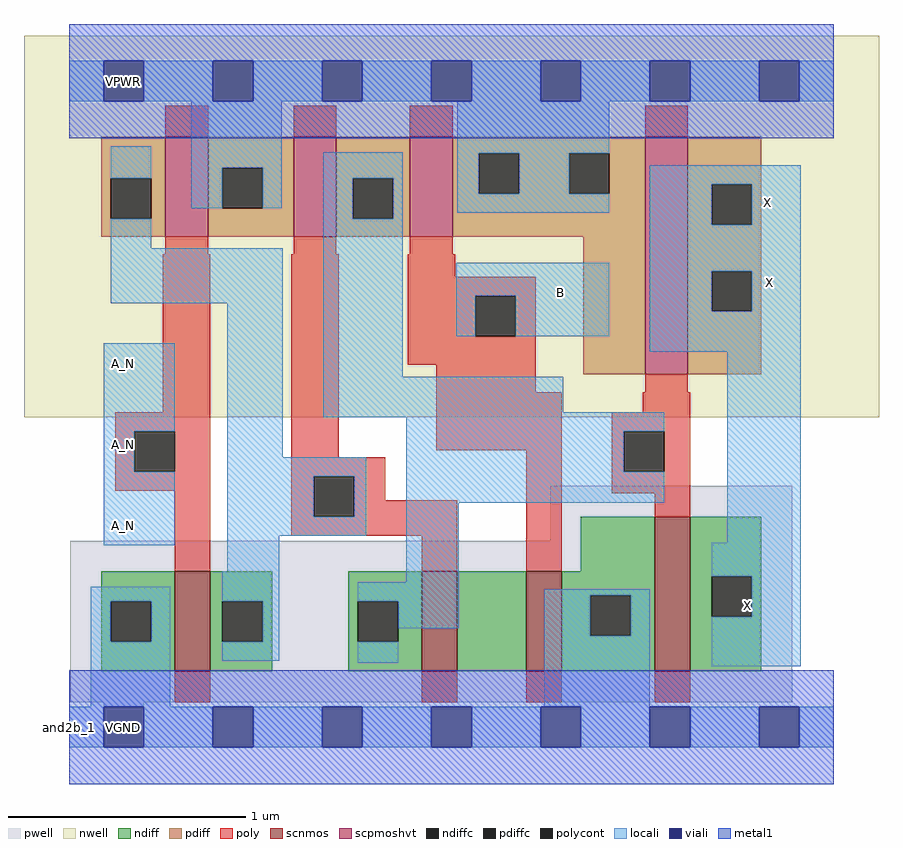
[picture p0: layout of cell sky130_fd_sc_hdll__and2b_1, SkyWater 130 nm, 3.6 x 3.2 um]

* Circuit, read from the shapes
.subckt sky130_fd_sc_hdll__and2b_1 A_N B VGND VNB VPB VPWR X
XM1 n1 A_N VGND VNB sky130_fd_pr__nfet_01v8 w=0.42 l=0.15
XM2 n2 n1 n3 VNB sky130_fd_pr__nfet_01v8 w=0.42 l=0.15
XM3 VGND B n2 VNB sky130_fd_pr__nfet_01v8 w=0.42 l=0.15
XM4 X n3 VGND VNB sky130_fd_pr__nfet_01v8 w=0.65 l=0.15
XM5 VPWR A_N n1 VPB sky130_fd_pr__pfet_01v8_hvt w=0.42 l=0.18
XM6 n3 n1 VPWR VPB sky130_fd_pr__pfet_01v8_hvt w=0.42 l=0.18
XM7 VPWR B n3 VPB sky130_fd_pr__pfet_01v8_hvt w=0.42 l=0.18
XM8 X n3 VPWR VPB sky130_fd_pr__pfet_01v8_hvt w=1 l=0.18
.ends

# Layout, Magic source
magic
tech sky130A
magscale 1 2
<< nwell >>
rect -38 261 682 582
<< pwell >>
rect 405 157 609 203
rect 1 21 609 157
rect 29 -17 63 21
<< scnmos >>
rect 89 47 119 131
rect 297 47 327 131
rect 385 47 415 131
rect 493 47 523 177
<< scpmoshvt >>
rect 81 413 117 497
rect 189 413 225 497
rect 287 413 323 497
rect 485 297 521 497
<< ndiff >>
rect 431 131 493 177
rect 27 106 89 131
rect 27 72 35 106
rect 69 72 89 106
rect 27 47 89 72
rect 119 106 171 131
rect 119 72 129 106
rect 163 72 171 106
rect 119 47 171 72
rect 235 106 297 131
rect 235 72 243 106
rect 277 72 297 106
rect 235 47 297 72
rect 327 47 385 131
rect 415 111 493 131
rect 415 77 439 111
rect 473 77 493 111
rect 415 47 493 77
rect 523 127 583 177
rect 523 93 541 127
rect 575 93 583 127
rect 523 47 583 93
<< pdiff >>
rect 27 462 81 497
rect 27 428 35 462
rect 69 428 81 462
rect 27 413 81 428
rect 117 471 189 497
rect 117 437 129 471
rect 163 437 189 471
rect 117 413 189 437
rect 225 462 287 497
rect 225 428 239 462
rect 273 428 287 462
rect 225 413 287 428
rect 323 483 485 497
rect 323 449 345 483
rect 379 449 421 483
rect 455 449 485 483
rect 323 413 485 449
rect 433 297 485 413
rect 521 457 583 497
rect 521 423 541 457
rect 575 423 583 457
rect 521 384 583 423
rect 521 350 541 384
rect 575 350 583 384
rect 521 297 583 350
<< ndiffc >>
rect 35 72 69 106
rect 129 72 163 106
rect 243 72 277 106
rect 439 77 473 111
rect 541 93 575 127
<< pdiffc >>
rect 35 428 69 462
rect 129 437 163 471
rect 239 428 273 462
rect 345 449 379 483
rect 421 449 455 483
rect 541 423 575 457
rect 541 350 575 384
<< poly >>
rect 81 497 117 523
rect 189 497 225 523
rect 287 497 323 523
rect 485 497 521 523
rect 81 398 117 413
rect 189 398 225 413
rect 287 398 323 413
rect 79 265 119 398
rect 39 249 119 265
rect 39 215 55 249
rect 89 215 119 249
rect 39 199 119 215
rect 89 131 119 199
rect 187 227 227 398
rect 285 379 325 398
rect 285 363 393 379
rect 285 329 342 363
rect 376 329 393 363
rect 285 305 393 329
rect 309 282 393 305
rect 485 282 521 297
rect 309 233 415 282
rect 483 265 523 282
rect 187 211 266 227
rect 187 177 206 211
rect 240 191 266 211
rect 240 177 327 191
rect 187 161 327 177
rect 297 131 327 161
rect 385 131 415 233
rect 457 249 523 265
rect 457 215 467 249
rect 501 215 523 249
rect 457 197 523 215
rect 493 177 523 197
rect 89 21 119 47
rect 297 21 327 47
rect 385 21 415 47
rect 493 21 523 47
<< polycont >>
rect 55 215 89 249
rect 342 329 376 363
rect 206 177 240 211
rect 467 215 501 249
<< locali >>
rect 0 527 29 561
rect 63 527 121 561
rect 155 527 213 561
rect 247 527 305 561
rect 339 527 397 561
rect 431 527 489 561
rect 523 527 581 561
rect 615 527 644 561
rect 35 462 69 489
rect 103 471 179 527
rect 103 437 129 471
rect 163 437 179 471
rect 214 462 281 484
rect 35 403 69 428
rect 214 428 239 462
rect 273 428 281 462
rect 327 483 455 527
rect 327 449 345 483
rect 379 449 421 483
rect 327 433 455 449
rect 489 457 616 473
rect 35 357 180 403
rect 29 249 89 323
rect 29 215 55 249
rect 29 153 89 215
rect 133 227 180 357
rect 214 295 281 428
rect 489 423 541 457
rect 575 423 616 457
rect 326 363 455 391
rect 326 329 342 363
rect 376 329 455 363
rect 489 384 616 423
rect 489 350 541 384
rect 575 350 616 384
rect 489 316 616 350
rect 214 265 416 295
rect 214 261 501 265
rect 284 249 501 261
rect 133 211 250 227
rect 133 177 206 211
rect 240 177 250 211
rect 133 161 250 177
rect 284 215 467 249
rect 284 189 501 215
rect 133 131 177 161
rect 18 106 85 118
rect 18 72 35 106
rect 69 72 85 106
rect 18 17 85 72
rect 129 106 177 131
rect 284 122 328 189
rect 554 155 616 316
rect 163 72 177 106
rect 129 56 177 72
rect 243 106 328 122
rect 541 127 616 155
rect 277 83 328 106
rect 400 111 489 116
rect 243 54 277 72
rect 400 77 439 111
rect 473 77 489 111
rect 400 17 489 77
rect 575 93 616 127
rect 541 51 616 93
rect 0 -17 29 17
rect 63 -17 121 17
rect 155 -17 213 17
rect 247 -17 305 17
rect 339 -17 397 17
rect 431 -17 489 17
rect 523 -17 581 17
rect 615 -17 644 17
<< viali >>
rect 29 527 63 561
rect 121 527 155 561
rect 213 527 247 561
rect 305 527 339 561
rect 397 527 431 561
rect 489 527 523 561
rect 581 527 615 561
rect 29 -17 63 17
rect 121 -17 155 17
rect 213 -17 247 17
rect 305 -17 339 17
rect 397 -17 431 17
rect 489 -17 523 17
rect 581 -17 615 17
<< metal1 >>
rect 0 561 644 592
rect 0 527 29 561
rect 63 527 121 561
rect 155 527 213 561
rect 247 527 305 561
rect 339 527 397 561
rect 431 527 489 561
rect 523 527 581 561
rect 615 527 644 561
rect 0 496 644 527
rect 0 17 644 48
rect 0 -17 29 17
rect 63 -17 121 17
rect 155 -17 213 17
rect 247 -17 305 17
rect 339 -17 397 17
rect 431 -17 489 17
rect 523 -17 581 17
rect 615 -17 644 17
rect 0 -48 644 -17
<< labels >>
flabel locali s 573 357 607 391 0 FreeSans 200 0 0 0 X
port 7 nsew signal output
flabel locali s 29 289 63 323 0 FreeSans 400 0 0 0 A_N
port 1 nsew signal input
flabel locali s 29 153 63 187 0 FreeSans 400 0 0 0 A_N
port 1 nsew signal input
flabel locali s 571 102 571 102 0 FreeSans 200 0 0 0 X
port 7 nsew
flabel locali s 29 221 63 255 0 FreeSans 400 0 0 0 A_N
port 1 nsew signal input
flabel locali s 397 349 431 383 0 FreeSans 400 0 0 0 B
port 2 nsew signal input
flabel locali s 571 425 605 459 0 FreeSans 200 0 0 0 X
port 7 nsew
flabel metal1 s 29 -17 63 17 0 FreeSans 200 0 0 0 VGND
port 3 nsew ground bidirectional
flabel metal1 s 29 527 63 561 0 FreeSans 200 0 0 0 VPWR
port 6 nsew power bidirectional
flabel nwell s 29 527 63 561 0 FreeSans 200 0 0 0 VPB
port 5 nsew power bidirectional
flabel pwell s 29 -17 63 17 0 FreeSans 200 0 0 0 VNB
port 4 nsew ground bidirectional
rlabel comment s 0 0 0 0 4 and2b_1
<< properties >>
string LEFsite unithd
string LEFclass CORE
string FIXED_BBOX 0 0 644 544
string GDS_FILE $PDKPATH/libs.ref/sky130_fd_sc_hdll/gds/sky130_fd_sc_hdll.gds
string LEFsymmetry X Y R90
string GDS_END 1774914
string GDS_START 1769276
string LEFproperties maskLayoutSubType "abstract" prCellType "standard" originalViewName "layout"
<< end >>
